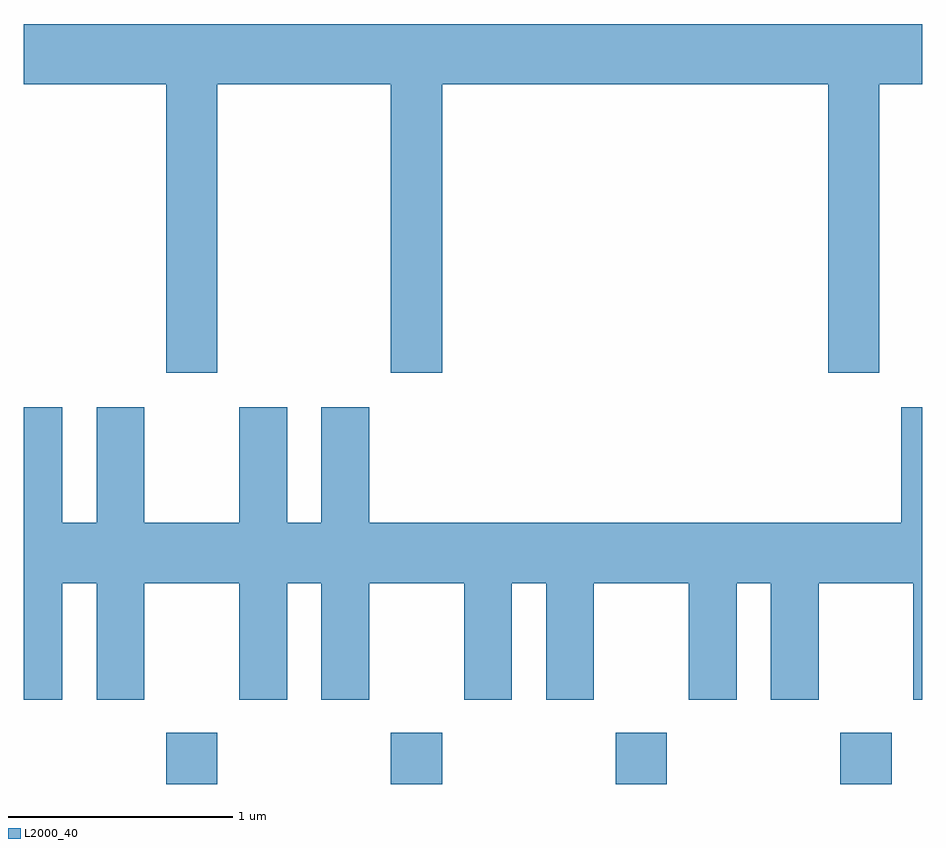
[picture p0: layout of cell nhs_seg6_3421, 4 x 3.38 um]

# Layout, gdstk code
import gdstk
lib = gdstk.Library(unit=1e-6, precision=1e-09)
def R(c, l, rs):  # rectangles x0, y0, x1, y1
    for r in rs: c.add(gdstk.rectangle(r[:2], r[2:], *l))
def A(c, l, x, y, w, h, nx, ny, dx, dy):  # array of equal rectangles
    R(c, l, [(x+i*dx, y+j*dy, x+i*dx+w, y+j*dy+h) for i in range(nx) for j in range(ny)])
def P(c, l, *ps):  # polygons
    for p in ps: c.add(gdstk.Polygon(p, *l))
L2000_40 = (2000, 40)

nhs_seg6_3421 = lib.new_cell('nhs_seg6_3421')
A(nhs_seg6_3421, L2000_40, 288.246, 1640.162, 0.228, 0.227, 4, 1, 1, 0)
P(nhs_seg6_3421, L2000_40, [(288.474,1643.276),(289.246,1643.276),(289.246,1641.991),(289.474,1641.991),(289.474,1643.276),(291.191,1643.276),(291.191,1641.991),(291.419,1641.991),(291.419,1643.276),(291.611,1643.276),(291.611,1643.544),(287.611,1643.544),(287.611,1643.276),(288.246,1643.276),(288.246,1641.991),(288.474,1641.991)],
  [(287.784,1641.056),(287.936,1641.056),(287.936,1640.536),(288.149,1640.536),(288.149,1641.056),(288.571,1641.056),(288.571,1640.536),(288.784,1640.536),(288.784,1641.056),(288.936,1641.056),(288.936,1640.536),(289.149,1640.536),(289.149,1641.056),(289.571,1641.056),(289.571,1640.536),(289.784,1640.536),(289.784,1641.056),(289.936,1641.056),(289.936,1640.536),(290.149,1640.536),(290.149,1641.056),(290.571,1641.056),(290.571,1640.536),(290.784,1640.536),(290.784,1641.056),(290.936,1641.056),(290.936,1640.536),(291.149,1640.536),(291.149,1641.056),(291.571,1641.056),(291.571,1640.536),(291.611,1640.536),(291.611,1641.839),(291.516,1641.839),(291.516,1641.324),(289.149,1641.324),(289.149,1641.839),(288.936,1641.839),(288.936,1641.324),(288.784,1641.324),(288.784,1641.839),(288.571,1641.839),(288.571,1641.324),(288.149,1641.324),(288.149,1641.839),(287.936,1641.839),(287.936,1641.324),(287.784,1641.324),(287.784,1641.839),(287.611,1641.839),(287.611,1640.536),(287.784,1640.536)])

lib.write_gds('nhs_seg6_3421.gds')
